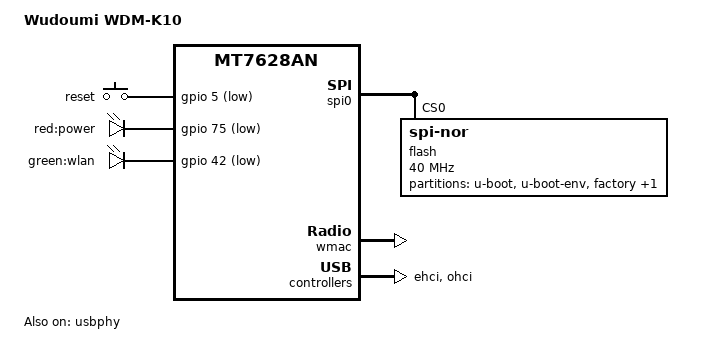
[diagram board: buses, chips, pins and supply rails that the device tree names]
// SPDX-License-Identifier: GPL-2.0-or-later

// adapted from "mt7628an_asus_rt-n1x.dtsi"
#include "mt7628an.dtsi"

#include <dt-bindings/gpio/gpio.h>
#include <dt-bindings/input/input.h>

/ {
	compatible = "wudoumi,wdm-k10", "mediatek,mt7628an-soc";
	model = "Wudoumi WDM-K10";

	aliases {
		led-boot = &led_power;
		led-failsafe = &led_power;
		led-running = &led_power;
		led-upgrade = &led_power;
	};

  // TODO
	keys {
		compatible = "gpio-keys";

		reset {
			label = "reset";
			gpios = <&gpio 5 GPIO_ACTIVE_LOW>;
			linux,code = <KEY_RESTART>;
		};
	};

  // TODO
	leds {
		compatible = "gpio-leds";

		led_power: power {
			label = "red:power";
			gpios = <&gpio 75 GPIO_ACTIVE_LOW>; // should be correct, but...
		};

		wlan {
			label = "green:wlan";
			gpios = <&gpio 42 GPIO_ACTIVE_LOW>; // should be ok?
			linux,default-trigger = "phy0tpt";
		};
    // just for reference - copied from other DTS
    /*
		wan {
			label = "green:wan";
			gpios = <&gpio 43 GPIO_ACTIVE_LOW>;
		};

		lan {
			label = "green:lan";
			gpios = <&gpio 44 GPIO_ACTIVE_LOW>;
		};
    */
	};

};

&spi0 {
	status = "okay";

	flash@0 {
		compatible = "jedec,spi-nor";
		reg = <0>;
		spi-max-frequency = <40000000>;

		partitions {
			compatible = "fixed-partitions";
			#address-cells = <1>;
			#size-cells = <1>;

			partition@0 {
				label = "u-boot";
				reg = <0x0 0x30000>;
				read-only;
			};

			partition@30000 {
				label = "u-boot-env";
				reg = <0x30000 0x10000>;
				read-only;
			};

			factory: partition@40000 {
				label = "factory";
				reg = <0x40000 0x10000>;
				read-only;
			};

			partition@50000 {
				compatible = "denx,uimage";
				label = "firmware";
				reg = <0x50000 0x7b0000>;
			};
		};
	};
};

&ethernet {
	nvmem-cells = <&macaddr_factory_4>;
	nvmem-cell-names = "mac-address";
};

&esw {
	mediatek,portmap = <0x2f>;
};

&wmac {
	status = "okay";

	mediatek,mtd-eeprom = <&factory 0x0>;
};

&factory {
	compatible = "nvmem-cells";
	#address-cells = <1>;
	#size-cells = <1>;

  // first 4 bytes are 2876 0002 - looks like SoC ID + variant

	macaddr_factory_4: macaddr@4 {
		reg = <0x4 0x6>;
	};

  // copy of MAC addr
	macaddr_factory_28: macaddr@28 {
		reg = <0x28 0x6>;
	};

  // secondary MAC addr, for what?
	macaddr_factory_2e: macaddr@2e {
		reg = <0x2e 0x6>;
	};
};

&state_default {
	gpio {
		groups = "i2c", "p0led_an", "p1led_an", "refclk", "wled_an";
		function = "gpio";
	};
};

&usbphy {
	status = "okay";
};

&ehci {
	status = "okay";
};

&ohci {
	status = "okay";
};
